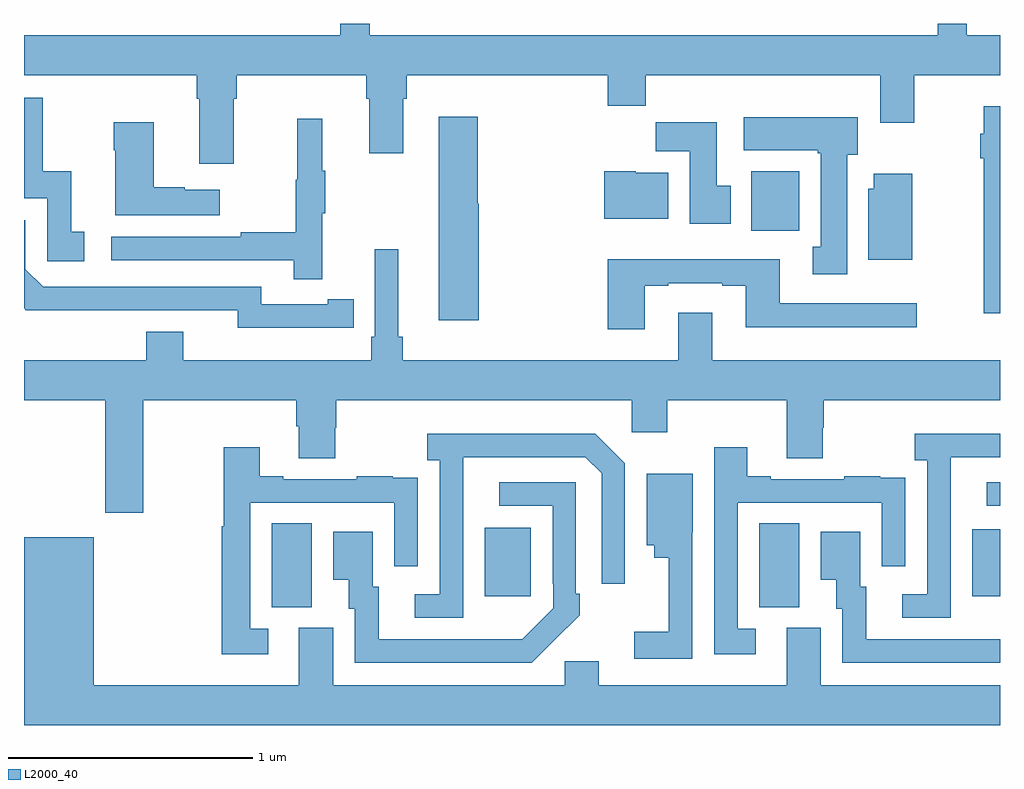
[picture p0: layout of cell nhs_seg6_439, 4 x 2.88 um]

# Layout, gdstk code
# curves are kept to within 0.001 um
import gdstk
lib = gdstk.Library(unit=1e-6, precision=1e-09)
def R(c, l, rs):  # rectangles x0, y0, x1, y1
    for r in rs: c.add(gdstk.rectangle(r[:2], r[2:], *l))
def P(c, l, *ps):  # polygons
    for p in ps: c.add(gdstk.Polygon(p, *l))
L2000_40 = (2000, 40)

nhs_seg6_439 = lib.new_cell('nhs_seg6_439')
R(nhs_seg6_439, L2000_40, [(136.016,993.109,136.18,993.452), (138.014,993.109,138.178,993.452), (136.889,993.153,137.077,993.433), (138.887,993.153,139,993.427), (138.945,993.525,139,993.621), (137.981,994.652,138.178,994.894)])
P(nhs_seg6_439, L2000_40, [(135.859,995.192),(135.872,995.192),(135.872,995.288),(136.403,995.288),(136.403,995.192),(136.415,995.192),(136.415,994.968),(136.555,994.968),(136.555,995.192),(136.568,995.192),(136.568,995.288),(137.393,995.288),(137.393,995.164),(137.549,995.164),(137.549,995.288),(138.509,995.288),(138.509,995.094),(138.649,995.094),(138.649,995.288),(139,995.288),(139,995.452),(138.863,995.452),(138.863,995.5),(138.745,995.5),(138.745,995.452),(136.417,995.452),(136.417,995.5),(136.296,995.5),(136.296,995.452),(135,995.452),(135,995.288),(135.707,995.288),(135.707,995.192),(135.719,995.192),(135.719,994.926),(135.859,994.926)],
  [(135.247,994.647),(135.194,994.647),(135.194,994.894),(135.076,994.894),(135.076,995.196),(135,995.196),(135,994.785),(135.096,994.785),(135.096,994.527),(135.247,994.527)],
  [(139,995.161),(138.934,995.161),(138.934,995.048),(138.919,995.048),(138.919,994.948),(138.934,994.948),(138.934,994.314),(139,994.314)],
  [(136.864,994.761),(136.859,994.761),(136.859,995.119),(136.7,995.119),(136.7,994.284),(136.864,994.284)],
  [(138.373,994.962),(138.418,994.962),(138.418,995.116),(137.949,995.116),(137.949,994.982),(138.253,994.982),(138.253,994.969),(138.266,994.969),(138.266,994.586),(138.233,994.586),(138.233,994.473),(138.373,994.473)],
  [(136.223,994.723),(136.234,994.723),(136.234,994.897),(136.223,994.897),(136.223,995.11),(136.12,995.11),(136.12,994.86),(136.113,994.86),(136.113,994.646),(135.889,994.646),(135.889,994.626),(135.357,994.626),(135.357,994.53),(136.105,994.53),(136.105,994.452),(136.223,994.452)],
  [(135.802,994.819),(135.659,994.819),(135.659,994.829),(135.532,994.829),(135.532,995.095),(135.367,995.095),(135.367,994.982),(135.374,994.982),(135.374,994.715),(135.802,994.715)],
  [(137.896,994.836),(137.839,994.836),(137.839,995.095),(137.59,995.095),(137.59,994.976),(137.729,994.976),(137.729,994.68),(137.896,994.68)],
  [(137.641,994.888),(137.508,994.888),(137.508,994.894),(137.378,994.894),(137.378,994.7),(137.641,994.7)],
  [(138.64,994.885),(138.482,994.885),(138.482,994.824),(138.461,994.824),(138.461,994.532),(138.64,994.532)],
  [(136.244,994.254),(136.352,994.254),(136.352,994.37),(136.244,994.37),(136.244,994.35),(135.972,994.35),(135.972,994.422),(135.078,994.422),(135.006,994.494),(135.006,994.695),(135,994.695),(135,994.333),(135.008,994.325),(135.876,994.326),(135.876,994.253)],
  [(137.49,993.825),(137.637,993.825),(137.637,993.956),(138.125,993.956),(138.125,993.718),(138.273,993.718),(138.273,993.843),(138.278,993.843),(138.278,993.956),(139,993.956),(139,994.12),(137.821,994.12),(137.821,994.315),(137.681,994.315),(137.681,994.12),(136.553,994.12),(136.553,994.216),(136.534,994.216),(136.534,994.576),(136.437,994.576),(136.437,994.216),(136.424,994.216),(136.424,994.12),(135.652,994.12),(135.652,994.237),(135.5,994.237),(135.5,994.12),(135,994.12),(135,993.956),(135.334,993.956),(135.334,993.495),(135.489,993.495),(135.489,993.956),(136.115,993.956),(136.115,993.85),(136.127,993.85),(136.127,993.718),(136.275,993.718),(136.275,993.843),(136.28,993.843),(136.28,993.956),(137.49,993.956)],
  [(137.545,994.425),(137.641,994.425),(137.641,994.437),(137.861,994.437),(137.861,994.425),(137.957,994.425),(137.957,994.256),(138.658,994.256),(138.658,994.353),(138.097,994.353),(138.097,994.534),(137.393,994.534),(137.393,994.248),(137.545,994.248)],
  [(138.798,993.523),(138.799,993.523),(138.799,993.723),(139,993.723),(139,993.82),(138.651,993.82),(138.651,993.71),(138.702,993.71),(138.702,993.162),(138.6,993.162),(138.6,993.066),(138.798,993.066)],
  [(136.8,993.723),(137.301,993.723),(137.367,993.657),(137.367,993.204),(137.463,993.204),(137.463,993.699),(137.342,993.82),(136.653,993.82),(136.653,993.71),(136.704,993.71),(136.704,993.162),(136.602,993.162),(136.602,993.066),(136.8,993.066)],
  [(136,993.021),(135.927,993.021),(135.927,993.537),(136.518,993.537),(136.518,993.276),(136.614,993.276),(136.614,993.53),(136.613,993.53),(136.613,993.639),(136.511,993.639),(136.511,993.646),(136.363,993.646),(136.363,993.633),(136.063,993.633),(136.063,993.646),(135.967,993.646),(135.967,993.763),(135.819,993.763),(135.819,993.44),(135.811,993.44),(135.811,992.916),(136,992.916)],
  [(137.998,993.021),(137.925,993.021),(137.925,993.537),(138.516,993.537),(138.516,993.276),(138.612,993.276),(138.612,993.53),(138.611,993.53),(138.611,993.639),(138.509,993.639),(138.509,993.646),(138.361,993.646),(138.361,993.633),(138.061,993.633),(138.061,993.646),(137.965,993.646),(137.965,993.763),(137.829,993.763),(137.829,992.916),(137.998,992.916)],
  [(137.739,993.415),(137.74,993.415),(137.74,993.655),(137.552,993.655),(137.552,993.362),(137.582,993.362),(137.582,993.311),(137.642,993.311),(137.642,993.007),(137.502,993.007),(137.502,992.898),(137.739,992.898)],
  [(137.171,992.971),(137.172,992.97),(137.277,993.075),(137.277,993.163),(137.262,993.163),(137.262,993.621),(136.947,993.621),(136.947,993.525),(137.166,993.525),(137.166,993.205),(137.169,993.205),(137.169,993.105),(137.041,992.977),(136.453,992.976),(136.453,993.192),(136.429,993.192),(136.429,993.418),(136.268,993.418),(136.268,993.221),(136.331,993.221),(136.331,993.102),(136.356,993.102),(136.356,992.88),(137.08,992.88)],
  [(139,992.977),(138.935,992.977),(138.935,992.976),(138.451,992.976),(138.451,993.192),(138.427,993.192),(138.427,993.418),(138.266,993.418),(138.266,993.221),(138.329,993.221),(138.329,993.102),(138.354,993.102),(138.354,992.88),(139,992.88)],
  [(139,992.788),(138.265,992.788),(138.265,993.024),(138.125,993.024),(138.125,992.788),(137.356,992.788),(137.356,992.886),(137.217,992.886),(137.217,992.788),(136.267,992.788),(136.267,993.024),(136.127,993.024),(136.127,992.788),(135.286,992.788),(135.286,993.394),(135,993.394),(135,992.624),(139,992.624)])

lib.write_gds('nhs_seg6_439.gds')
